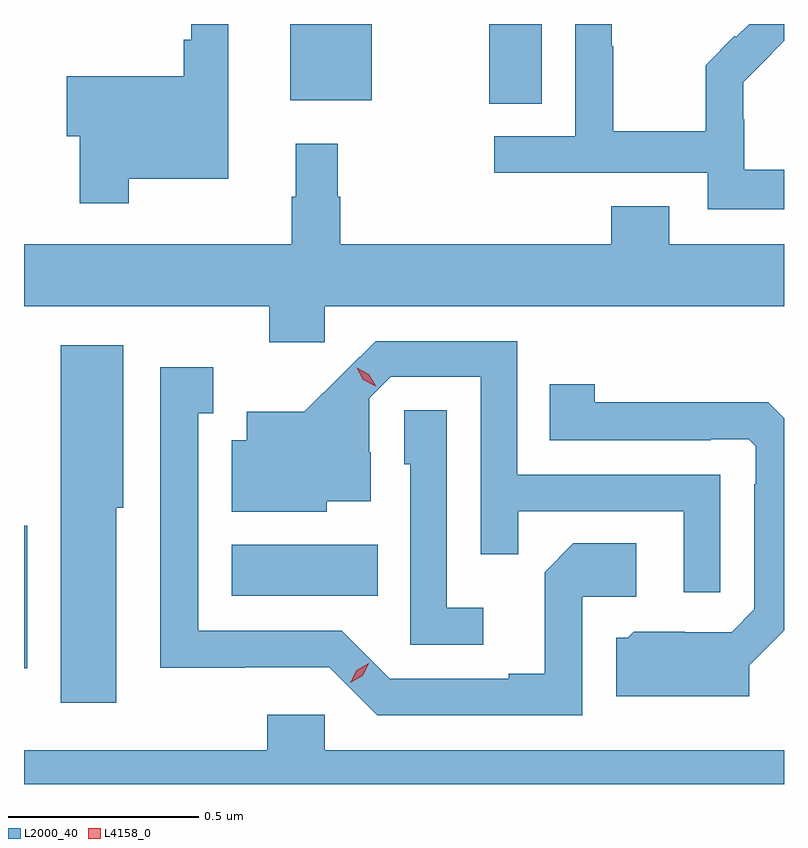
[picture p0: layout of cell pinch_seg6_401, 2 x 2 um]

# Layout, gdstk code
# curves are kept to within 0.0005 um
import gdstk
lib = gdstk.Library(unit=1e-6, precision=1e-09)
def R(c, l, rs):  # rectangles x0, y0, x1, y1
    for r in rs: c.add(gdstk.rectangle(r[:2], r[2:], *l))
def P(c, l, *ps):  # polygons
    for p in ps: c.add(gdstk.Polygon(p, *l))
L2000_40 = (2000, 40)
L4158_0 = (4158, 0)

pinch_seg6_401 = lib.new_cell('pinch_seg6_401')
R(pinch_seg6_401, L2000_40, [(638.101,931.731,638.109,932.107), (638.648,931.922,639.032,932.056), (639.325,933.217,639.463,933.427), (638.801,933.227,639.016,933.427)])
P(pinch_seg6_401, L2000_40, [(640.101,933.043),(639.996,933.043),(639.996,933.177),(639.994,933.177),(639.994,933.274),(640.068,933.348),(640.067,933.349),(640.101,933.383),(640.101,933.427),(640.009,933.427),(639.975,933.393),(639.972,933.396),(639.895,933.319),(639.895,933.145),(639.651,933.145),(639.651,933.368),(639.648,933.368),(639.648,933.427),(639.552,933.427),(639.552,933.132),(639.339,933.132),(639.339,933.036),(639.9,933.036),(639.9,932.939),(640.101,932.939)],
  [(638.377,933.02),(638.638,933.02),(638.638,933.427),(638.541,933.427),(638.541,933.385),(638.521,933.385),(638.521,933.289),(638.214,933.289),(638.214,933.131),(638.248,933.131),(638.248,932.955),(638.377,932.955)],
  [(638.101,932.684),(638.746,932.684),(638.746,932.589),(638.892,932.589),(638.892,932.684),(640.101,932.684),(640.101,932.848),(639.799,932.848),(639.799,932.947),(639.647,932.947),(639.647,932.848),(638.933,932.848),(638.933,932.972),(638.926,932.972),(638.926,933.112),(638.816,933.112),(638.816,932.972),(638.805,932.972),(638.805,932.848),(638.101,932.848)],
  [(639.933,932.241),(639.399,932.241),(639.399,932.592),(639.026,932.592),(638.839,932.407),(638.687,932.407),(638.687,932.331),(638.648,932.331),(638.648,932.144),(638.898,932.144),(638.898,932.171),(639.013,932.171),(639.013,932.3),(639.009,932.3),(639.009,932.442),(639.066,932.499),(639.303,932.499),(639.303,932.032),(639.401,932.032),(639.401,932.145),(639.837,932.145),(639.837,931.932),(639.933,931.932)],
  [(638.344,932.154),(638.362,932.154),(638.362,932.581),(638.198,932.581),(638.198,931.641),(638.344,931.641)],
  [(639.57,931.92),(639.712,931.92),(639.712,932.06),(639.547,932.06),(639.471,931.984),(639.471,931.717),(639.377,931.717),(639.377,931.704),(639.063,931.704),(638.937,931.83),(638.56,931.83),(638.56,932.403),(638.599,932.403),(638.599,932.524),(638.459,932.524),(638.459,931.733),(638.682,931.733),(638.682,931.734),(638.904,931.734),(639.03,931.608),(639.57,931.608)],
  [(640.009,931.74),(640.101,931.832),(640.101,932.39),(640.06,932.431),(639.959,932.431),(639.959,932.432),(639.603,932.432),(639.603,932.479),(639.484,932.479),(639.484,932.331),(639.908,932.331),(639.908,932.334),(640.008,932.334),(640.026,932.316),(640.026,932.216),(640.023,932.216),(640.023,931.887),(639.963,931.827),(639.84,931.827),(639.84,931.828),(639.706,931.828),(639.69,931.812),(639.659,931.812),(639.659,931.658),(640.009,931.658)],
  [(639.31,931.891),(639.213,931.891),(639.213,932.411),(639.102,932.411),(639.102,932.268),(639.117,932.268),(639.117,931.794),(639.31,931.794)],
  [(640.101,931.516),(638.892,931.516),(638.892,931.609),(638.741,931.609),(638.741,931.516),(638.101,931.516),(638.101,931.427),(640.101,931.427)])
P(pinch_seg6_401, L4158_0, [(639.026,932.474),(638.994,932.491),(638.977,932.522),(638.977,932.522),(638.977,932.522),(639.008,932.505),(639.026,932.475),(639.026,932.474)],
  [(638.96,931.693),(638.96,931.693),(638.977,931.726),(639.008,931.745),(639.008,931.745),(639.008,931.744),(638.992,931.712),(638.96,931.693)])

lib.write_gds('pinch_seg6_401.gds')
